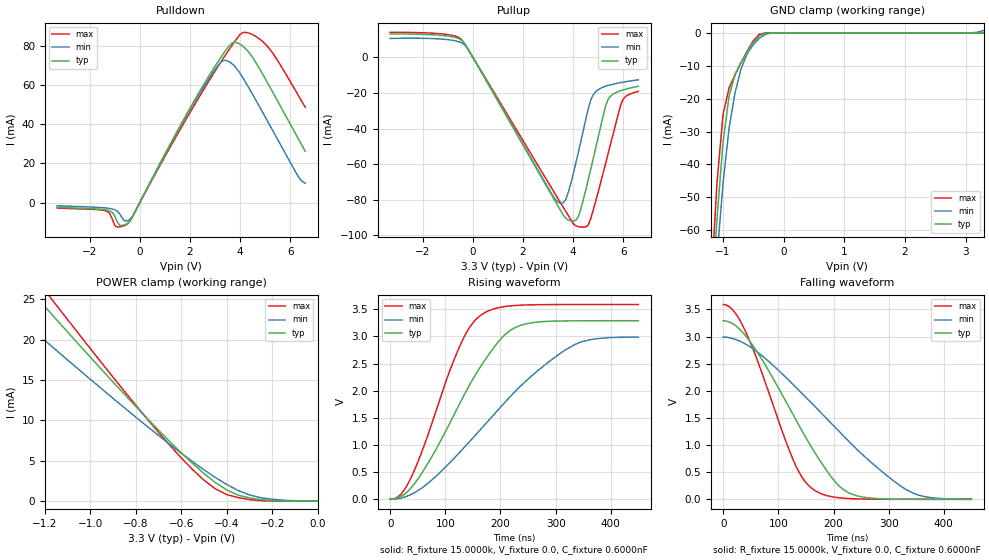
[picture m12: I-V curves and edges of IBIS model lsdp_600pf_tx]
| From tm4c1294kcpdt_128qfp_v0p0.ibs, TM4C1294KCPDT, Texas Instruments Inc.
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|   Model lsdp_600pf_tx
[Model]   lsdp_600pf_tx
Model_type  3-state
Polarity   Non-Inverting
Enable   Active-Low
C_comp   7.0000pF   7.0000pF   7.0000pF
[Model Spec]
Vmeas 1.65 1.5 1.8
[Temperature Range]   27.0000   0.1250k   -40.0000
[Voltage Range]   3.3000V   3.0000V   3.6000V
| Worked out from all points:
|   slope of the pulldown table from 0 to 0.495 V, typ, clamps not added: 39.8 ohm
|   slope of the pullup table from 0 to 0.495 V, typ, clamps not added: 40.7 ohm
|   GND clamp passes 1 mA (typ) near -0.40 V on its own axis
|   POWER clamp passes 1 mA (typ) near -0.37 V on its own axis
|   rising waveform, R_fixture 15.0000k, V_fixture 0.0, C_fixture 0.6000nF: 20-80 % time 108ns typ, 170ns min, 77.2ns max; typ from 0 V to 3.29 V
|   falling waveform, R_fixture 15.0000k, V_fixture 0.0, C_fixture 0.6000nF: 20-80 % time 112ns typ, 179ns min, 77.3ns max; typ from 3.29 V to 0 V
[Pulldown]
|Voltage   I(typ)   I(min)   I(max)
-3.3V     -2.401mA   -1.67mA    -2.857mA
-1.4V     -3.695mA   -2.753mA   -4.133mA
-900mV    -10.07mA   -4.442mA   -12.64mA
-600mV    -11.42mA   -9.457mA   -11.81mA
-400mV    -9.699mA   -8.629mA   -9.649mA
2.3V      55.06mA    54.16mA    52.67mA
3.4V      77.55mA    72.9mA     75.3mA
3.9V      81.79mA    67.98mA    84.5mA
4.2V      79.09mA    62.05mA    87.23mA
4.7V      70.25mA    50.81mA    84.54mA
5.3V      56.6mA     36.92mA    76.61mA
6.6V      26.2mA     9.903mA    48.81mA
[Pullup]
|Voltage   I(typ)   I(min)   I(max)
-3.3V     13.1mA     10.64mA    14.09mA
-500mV    10.12mA    8.492mA    10.61mA
-100mV    2.446mA    2.373mA    2.323mA
3.3V      -81.22mA   -80.03mA   -77.15mA
3.7V      -90.41mA   -79.99mA   -86.42mA
4.2V      -89.61mA   -53.77mA   -95.13mA
4.5V      -74.71mA   -35.11mA   -95.31mA
4.7V      -62.98mA   -24.03mA   -90.63mA
4.9V      -50.92mA   -19.26mA   -80.83mA
5.4V      -23.44mA   -15.74mA   -53.79mA
6V        -18.25mA   -13.89mA   -23.35mA
6.6V      -16.21mA   -12.59mA   -19.12mA
[GND_clamp]
|Voltage   I(typ)   I(min)   I(max)
-3.3V     -840.3mA   -734.3mA   -920.6mA
-1.2V     -86.68mA   -94.57mA   -77.88mA
-1.1V     -56.77mA   -68.53mA   -45.9mA
-1V       -33.38mA   -45.87mA   -24.89mA
-900mV    -19.23mA   -29mA      -16.73mA
-800mV    -12.52mA   -18.04mA   -12.67mA
-700mV    -8.862mA   -10.78mA   -8.95mA
-600mV    -5.755mA   -6.231mA   -5.45mA
-400mV    -896.9uA   -1.614mA   -397.4uA
-200mV    -8.59uA    -49.41uA   -5.163uA
3V        2.546uA    8.612uA    1.975uA
3.3V      3.54uA     771.7uA    2.816uA
[POWER_clamp]
|Voltage   I(typ)   I(min)   I(max)
-3.3V     110.9mA    96.85mA    135.1mA
-1.4V     30.43mA    24.76mA    33.43mA
-1.25V    25.67mA    21.1mA     27.93mA
-1.2V     24.09mA    19.89mA    26.11mA
-1.15V    22.51mA    18.68mA    24.29mA
-900mV    14.75mA    12.73mA    15.35mA
-700mV    8.795mA    8.133mA    8.526mA
-550mV    4.663mA    4.89mA     3.906mA
-450mV    2.303mA    2.932mA    1.531mA
-350mV    747.8uA    1.329mA    444.6uA
-250mV    199.2uA    426.7uA    62.4uA
0V        3.54uA     8.612uA    3.643uA
[Ramp]
| variable   typ   min   max
dV/dt_r   1.9746/98.5463n   1.7950/0.1600u   2.1537/65.0865n
dV/dt_f   1.9747/0.1006u   1.7952/0.1645u   2.1539/65.1122n
R_load =   15.0000k
[Rising Waveform]
R_fixture=  15.0000k
V_fixture=  0.0
V_fixture_min=  0.0
V_fixture_max=  0.0
C_fixture=  0.6000nF
|time   V(typ)   V(min)   V(max)
0s        63.74uV    44.73uV    95.15uV
18.02ns   41.49mV    19.22mV    79.7mV
36.49ns   196.2mV    82.47mV    371.9mV
121.6ns   1.674V     818.1mV    2.714V
142.3ns   2.078V     1.046V     3.143V
162.6ns   2.425V     1.273V     3.38V
205.4ns   3.008V     1.758V     3.549V
238.7ns   3.213V     2.108V     3.578V
339.6ns   3.29V      2.873V     3.589V
450ns     3.291V     2.99V      3.59V
[Falling Waveform]
R_fixture=  15.0000k
V_fixture=  0.0
V_fixture_min=  0.0
V_fixture_max=  0.0
C_fixture=  0.6000nF
|time   V(typ)   V(min)   V(max)
0s        3.291V     2.992V     3.59V
18.02ns   3.231V     2.961V     3.482V
37.84ns   3.047V     2.877V     3.151V
127ns     1.556V     2.113V     724.4mV
143.2ns   1.255V     1.948V     400.2mV
160.8ns   949.2mV    1.767V     201.4mV
205.4ns   294.1mV    1.302V     34.2mV
237.8ns   78.93mV    967.4mV    9.466mV
343.2ns   978uV      119.3mV    226.1uV
450ns     73.11uV    1.48mV     96.7uV
